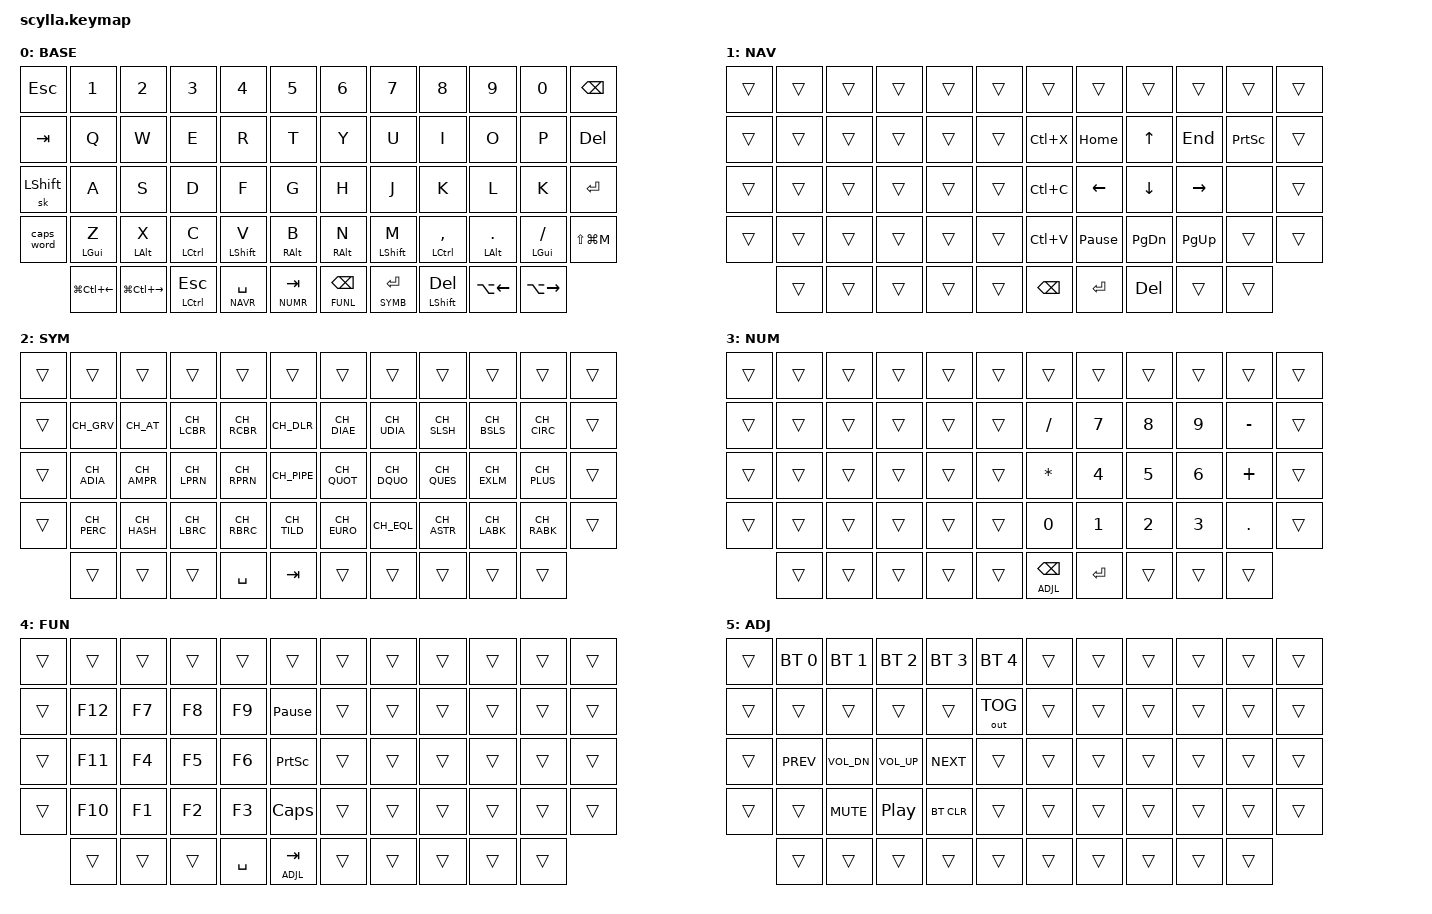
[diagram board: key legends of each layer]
/*
 * Copyright (c) 2021 The ZMK Contributors
 *
 * SPDX-License-Identifier: MIT
 */

#include <behaviors.dtsi>
#include <dt-bindings/zmk/keys.h>
#include <dt-bindings/zmk/bt.h>
#include <dt-bindings/zmk/ext_power.h>
#include <dt-bindings/zmk/outputs.h>

#include "swiss-keymap.h"

#define BASE   0
#define NAVR   1
#define SYMB   2
#define NUMR   3
#define FUNL   4
#define ADJL   5    

/ {
	behaviors {
        hm: homerow_mods {
            compatible = "zmk,behavior-hold-tap";
            label = "HOMEROW_MODS";
            #binding-cells = <2>;
            tapping-term-ms = <150>;
            quick_tap_ms = <0>;
            flavor = "tap-preferred";
            bindings = <&kp>, <&kp>;
        };
    };
// /*
//  *
//  *          ,-----------------------------.                                ,-----------------------------.
//  *          | 00 | 01 | 02 | 03 | 04 | 05 |                                | 06 | 07 | 08 | 09 | 10 | 11 |
//  *          ,----+----+----+----+----+----|                                |----+----+----+----+----+----.
//  *          | 12 | 13 | 14 | 15 | 16 | 17 |                                | 18 | 19 | 20 | 21 | 22 | 23 |
//  *          |----+----+----+----+----+----|                                |----+----+----+----+----+----|
//  *          | 24 | 25 | 26 | 27 | 28 | 29 |                                | 30 | 31 | 32 | 33 | 34 | 35 |
//  *          |----+----+----+----+----+----|                                |----+----+----+----+----+----|
//  *          | 36 | 37 | 38 | 39 | 40 | 41 |                                | 42 | 43 | 44 | 45 | 46 | 47 |
//  *          `---------+----+----+----+----+----.                      ,----+----+----+----+----+---------'
//  *                    | 48 | 49 | 50 | 51 | 52 |                      | 53 | 54 | 55 | 56 | 57 |
//  *                    `------------------------'                      `------------------------'
//  */
/*
    combos {
        compatible = "zmk,combos";
    };
 */
    keymap {
        compatible = "zmk,keymap";
        base {
            label = "BASE";
            bindings = <
                &kp ESC       &kp N1           &kp N2            &kp N3        &kp N4         &kp N5                   &kp N6        &kp N7         &kp N8          &kp N9        &kp N0        &kp BSPC
                &kp TAB       &kp Q            &kp W             &kp E         &kp R          &kp T                    &kp Y         &kp U          &kp I           &kp O         &kp P         &kp DEL
                &sk LSHIFT    &kp A            &kp S             &kp D         &kp F          &kp G                    &kp H         &kp J          &kp K           &kp L         &kp K         &kp ENTER
                &caps_word    &hm LGUI Z       &hm LALT X        &hm LCTRL C   &hm LSHFT V    &hm RALT B               &hm RALT N    &hm LSHFT M    &hm LCTRL COMMA &hm LALT DOT  &hm LGUI FSLH &kp LS(LG(M))
                              &kp LG(LC(LEFT)) &kp LG(LC(RIGHT)) &mt LCTRL ESC &lt NAVR SPACE &lt NUMR TAB             &lt FUNL BSPC &lt SYMB RET   &mt LSHIFT DEL  &kp LA(LEFT)  &kp LA(RIGHT)
            >;
        };
        navr {
            label = "NAV";
            bindings = <
                &trans        &trans         &trans         &trans          &trans         &trans                   &trans         &trans          &trans         &trans         &trans         &trans
                &trans        &trans         &trans         &trans          &trans         &trans                   &kp LC(X)      &kp HOME        &kp UP         &kp END        &kp PSCRN      &trans
                &trans        &trans         &trans         &trans          &trans         &trans                   &kp LC(C)      &kp LEFT        &kp DOWN       &kp RIGHT      &none          &trans
                &trans        &trans         &trans         &trans          &trans         &trans                   &kp LC(V)      &kp PAUSE_BREAK &kp PG_DN      &kp PG_UP      &trans         &trans
                              &trans         &trans         &trans          &trans         &trans                   &kp BSPC       &kp RET         &kp DEL        &trans         &trans 
            >;
        };
        symb {
            label = "SYM";
            bindings = <
                &trans        &trans         &trans         &trans          &trans         &trans                   &trans         &trans         &trans         &trans         &trans         &trans
                &trans        &kp CH_GRV     &kp CH_AT      &kp CH_LCBR     &kp CH_RCBR    &kp CH_DLR               &kp CH_DIAE    &kp CH_UDIA    &kp CH_SLSH    &kp CH_BSLS    &kp CH_CIRC    &trans
                &trans        &kp CH_ADIA    &kp CH_AMPR    &kp CH_LPRN     &kp CH_RPRN    &kp CH_PIPE              &kp CH_QUOT    &kp CH_DQUO    &kp CH_QUES    &kp CH_EXLM    &kp CH_PLUS    &trans
                &trans        &kp CH_PERC    &kp CH_HASH    &kp CH_LBRC     &kp CH_RBRC    &kp CH_TILD              &kp CH_EURO    &kp CH_EQL     &kp CH_ASTR    &kp CH_LABK    &kp CH_RABK    &trans
                              &trans         &trans         &trans          &kp SPACE      &kp TAB                  &trans         &trans         &trans         &trans         &trans 
            >;
        };
        numr {
            label = "NUM";
            bindings = <
                &trans        &trans         &trans         &trans          &trans         &trans                   &trans         &trans         &trans         &trans         &trans         &trans
                &trans        &trans         &trans         &trans          &trans         &trans                   &kp SLASH      &kp N7         &kp N8         &kp N9         &kp MINUS      &trans
                &trans        &trans         &trans         &trans          &trans         &trans                   &kp ASTRK      &kp N4         &kp N5         &kp N6         &kp PLUS       &trans
                &trans        &trans         &trans         &trans          &trans         &trans                   &kp N0         &kp N1         &kp N2         &kp N3         &kp DOT        &trans
                              &trans         &trans         &trans          &trans         &trans                   &lt ADJL BSPC  &kp RET        &trans         &trans         &trans 
            >;
        };
        funl {
            label = "FUN";
            bindings = <
                &trans        &trans         &trans         &trans          &trans         &trans                   &trans         &trans         &trans         &trans         &trans         &trans
                &trans        &kp F12        &kp F7         &kp F8          &kp F9         &kp PAUSE_BREAK          &trans         &trans         &trans         &trans         &trans         &trans
                &trans        &kp F11        &kp F4         &kp F5          &kp F6         &kp PSCRN                &trans         &trans         &trans         &trans         &trans         &trans
                &trans        &kp F10        &kp F1         &kp F2          &kp F3         &kp CLCK                 &trans         &trans         &trans         &trans         &trans         &trans
                              &trans         &trans         &trans          &kp SPACE      &lt ADJL TAB             &trans         &trans         &trans         &trans         &trans 
            >;
        };
        adjl {
            label = "ADJ";
            bindings = <
                &trans        &bt BT_SEL 0   &bt BT_SEL 1   &bt BT_SEL 2    &bt BT_SEL 3   &bt BT_SEL 4             &trans         &trans         &trans         &trans         &trans         &trans
                &trans        &trans         &trans         &trans          &trans         &out OUT_TOG             &trans         &trans         &trans         &trans         &trans         &trans
                &trans        &kp C_PREV     &kp C_VOL_DN   &kp C_VOL_UP    &kp C_NEXT     &trans                   &trans         &trans         &trans         &trans         &trans         &trans
                &trans        &trans         &kp K_MUTE     &kp C_PP        &bt BT_CLR     &trans                   &trans         &trans         &trans         &trans         &trans         &trans
                              &trans         &trans         &trans          &trans         &trans                   &trans         &trans         &trans         &trans         &trans 
            >;
        };
    };
};

// -------------------------------------------------------- TEMPLATE -------------------------------------------------------------------------------------
// /*
//  * Layer
//  *
//  *          ,-----------------------------------------.                                               ,-----------------------------------------.
//  *          |      |      |      |      |      |      |                                               |      |      |      |      |      |      |
//  *          |      |      |      |      |      |      |                                               |      |      |      |      |      |      |
//  *          |------+------+------+------+------+------|                                               |------+------+------+------+------+------|
//  *          |      |      |      |      |      |      |                                               |      |      |      |      |      |      |
//  *          |      |      |      |      |      |      |                                               |      |      |      |      |      |      |
//  *          |------+------+------+------+------+------|                                               |------+------+------+------+------+------|
//  *          |      |      |      |      |      |      |                                               |      |      |      |      |      |      |
//  *          |      |      |      |      |      |      |                                               |      |      |      |      |      |      |
//  *          |------+------+------+------+------+------|                                               |------+------+------+------+------+------|
//  *          |      |      |      |      |      |      |                                               |      |      |      |      |      |      |
//  *          |      |      |      |      |      |      |                                               |      |      |      |      |      |      |
//  *          `-------------+------+------+------+------+------.                                 ,------+------+------+------+------+-------------'
//  *                        |      |      |      |      |      |                                 |      |      |      |      |      |
//  *                        |      |      |      |      |      |                                 |      |      |      |      |      |
//  *                        `----------------------------------'                                 `----------------------------------'
//  */
/*
        layer {
            label = "LAYER";
            bindings = <
                &trans        &trans         &trans         &trans          &trans         &trans                   &trans         &trans         &trans         &trans         &trans         &trans
                &trans        &trans         &trans         &trans          &trans         &trans                   &trans         &trans         &trans         &trans         &trans         &trans
                &trans        &trans         &trans         &trans          &trans         &trans                   &trans         &trans         &trans         &trans         &trans         &trans
                &trans        &trans         &trans         &trans          &trans         &trans                   &trans         &trans         &trans         &trans         &trans         &trans
                              &trans         &trans         &trans          &trans         &trans                   &trans         &trans         &trans         &trans         &trans 
            >;
        };
*/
